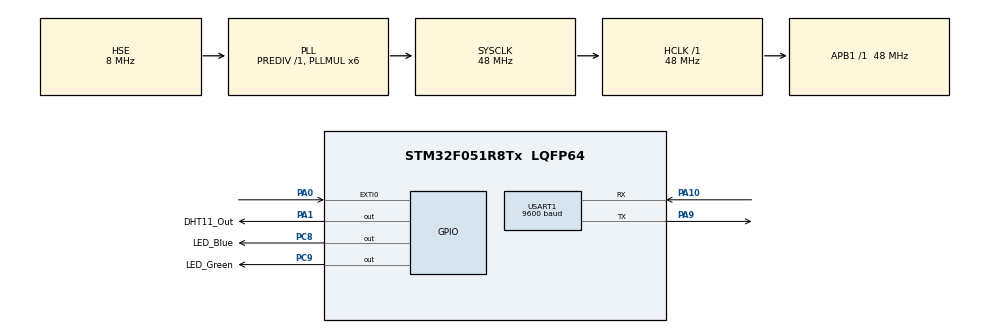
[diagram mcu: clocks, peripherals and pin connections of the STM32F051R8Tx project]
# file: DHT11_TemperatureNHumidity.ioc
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Dma.Request0=USART1_TX
Dma.USART1_TX.0.Direction=DMA_MEMORY_TO_PERIPH
Dma.USART1_TX.0.Instance=DMA1_Channel2
Dma.USART1_TX.0.MemDataAlignment=DMA_MDATAALIGN_BYTE
Dma.USART1_TX.0.MemInc=DMA_MINC_ENABLE
Dma.USART1_TX.0.Mode=DMA_NORMAL
Dma.USART1_TX.0.PeriphDataAlignment=DMA_PDATAALIGN_BYTE
Dma.USART1_TX.0.PeriphInc=DMA_PINC_DISABLE
Dma.USART1_TX.0.Priority=DMA_PRIORITY_LOW
Mcu.Family=STM32F0
Mcu.Name=STM32F051R8Tx
Mcu.Package=LQFP64
NVIC.DMA1_Channel2_3_IRQn=true\:0\:0\:false\:false\:true\:false\:true\:true
NVIC.EXTI0_1_IRQn=true\:0\:0\:false\:false\:true\:true\:true\:true
NVIC.TIM6_DAC_IRQn=true\:0\:0\:false\:false\:true\:true\:true\:true
NVIC.USART1_IRQn=true\:0\:0\:false\:false\:true\:true\:true\:true
PA0.Signal=GPXTI0
PA1.GPIO_Label=DHT11_Out
PA1.Signal=GPIO_Output
PA10.Mode=Asynchronous
PA10.Signal=USART1_RX
PA13.GPIO_Label=SWDIO
PA13.Mode=Serial_Wire
PA13.Signal=SYS_SWDIO
PA14.GPIO_Label=SWCLK
PA14.Mode=Serial_Wire
PA14.Signal=SYS_SWCLK
PA9.Mode=Asynchronous
PA9.Signal=USART1_TX
PC8.GPIO_Label=LED_Blue
PC8.Signal=GPIO_Output
PC9.GPIO_Label=LED_Green
PC9.Signal=GPIO_Output
PF0-OSC_IN.Mode=HSE-External-Oscillator
PF0-OSC_IN.Signal=RCC_OSC_IN
PF1-OSC_OUT.Mode=HSE-External-Oscillator
PF1-OSC_OUT.Signal=RCC_OSC_OUT
ProjectManager.HeapSize=0x200
ProjectManager.StackSize=0x400
ProjectManager.TargetToolchain=STM32CubeIDE
RCC.AHBFreq_Value=48000000
RCC.APB1Freq_Value=48000000
RCC.APB1TimFreq_Value=48000000
RCC.HCLKFreq_Value=48000000
RCC.PLLMUL=RCC_PLL_MUL6
RCC.PLLSourceVirtual=RCC_PLLSOURCE_HSE
RCC.SYSCLKFreq_VALUE=48000000
RCC.SYSCLKSource=RCC_SYSCLKSOURCE_PLLCLK
TIM14.Period=0xFFFF-1
TIM14.Prescaler=48-1
TIM6.Period=1000-1
TIM6.Prescaler=48000-1
USART1.BaudRate=9600
USART1.VirtualMode-Asynchronous=VM_ASYNC
VP_TIM14_VS_ClockSourceINT.Mode=Enable_Timer
VP_TIM6_VS_ClockSourceINT.Mode=Enable_Timer
board=STM32F0DISCOVERY

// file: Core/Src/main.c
/* USER CODE BEGIN Header */
/**
  ******************************************************************************
  * @file           : main.c
  * @brief          : Main program body
  ******************************************************************************
  * @attention
  *
  * Copyright (c) 2024 STMicroelectronics.
  * All rights reserved.
  *
  * This software is licensed under terms that can be found in the LICENSE file
  * in the root directory of this software component.
  * If no LICENSE file comes with this software, it is provided AS-IS.
  *
  ******************************************************************************
  */
/* USER CODE END Header */
#include "main.h"

/* USER CODE BEGIN Includes */
#include<string.h>
#include<stdio.h>
/* USER CODE END Includes */

TIM_HandleTypeDef htim6;
TIM_HandleTypeDef htim14;

UART_HandleTypeDef huart1;
DMA_HandleTypeDef hdma_usart1_tx;

/* USER CODE BEGIN PV */
uint8_t counter_periodic = 0;
char uart_tx_buffer[100];
/* USER CODE END PV */

void SystemClock_Config(void);
static void MX_GPIO_Init(void);
static void MX_DMA_Init(void);
static void MX_TIM6_Init(void);
static void MX_USART1_UART_Init(void);
static void MX_TIM14_Init(void);

int main(void)
{

  /* MCU Configuration--------------------------------------------------------*/

  /* Reset of all peripherals, Initializes the Flash interface and the Systick. */
  HAL_Init();

  /* Configure the system clock */
  SystemClock_Config();

  /* Initialize all configured peripherals */
  MX_GPIO_Init();
  MX_DMA_Init();
  MX_TIM6_Init();
  MX_USART1_UART_Init();
  MX_TIM14_Init();
  /* USER CODE BEGIN 2 */
  HAL_TIM_Base_Start_IT(&htim6);
  /* USER CODE END 2 */

  /* Infinite loop */
  /* USER CODE BEGIN WHILE */
  while (1)
  {
	  __WFI();
    /* USER CODE END WHILE */

  }
}

void SystemClock_Config(void)
{
  RCC_OscInitTypeDef RCC_OscInitStruct = {0};
  RCC_ClkInitTypeDef RCC_ClkInitStruct = {0};
  RCC_PeriphCLKInitTypeDef PeriphClkInit = {0};

  /** Initializes the RCC Oscillators according to the specified parameters
  * in the RCC_OscInitTypeDef structure.
  */
  RCC_OscInitStruct.OscillatorType = RCC_OSCILLATORTYPE_HSE;
  RCC_OscInitStruct.HSEState = RCC_HSE_ON;
  RCC_OscInitStruct.PLL.PLLState = RCC_PLL_ON;
  RCC_OscInitStruct.PLL.PLLSource = RCC_PLLSOURCE_HSE;
  RCC_OscInitStruct.PLL.PLLMUL = RCC_PLL_MUL6;
  RCC_OscInitStruct.PLL.PREDIV = RCC_PREDIV_DIV1;
  if (HAL_RCC_OscConfig(&RCC_OscInitStruct) != HAL_OK)
  {
    Error_Handler();
  }

  /** Initializes the CPU, AHB and APB buses clocks
  */
  RCC_ClkInitStruct.ClockType = RCC_CLOCKTYPE_HCLK|RCC_CLOCKTYPE_SYSCLK
                              |RCC_CLOCKTYPE_PCLK1;
  RCC_ClkInitStruct.SYSCLKSource = RCC_SYSCLKSOURCE_PLLCLK;
  RCC_ClkInitStruct.AHBCLKDivider = RCC_SYSCLK_DIV1;
  RCC_ClkInitStruct.APB1CLKDivider = RCC_HCLK_DIV1;

  if (HAL_RCC_ClockConfig(&RCC_ClkInitStruct, FLASH_LATENCY_1) != HAL_OK)
  {
    Error_Handler();
  }
  PeriphClkInit.PeriphClockSelection = RCC_PERIPHCLK_USART1;
  PeriphClkInit.Usart1ClockSelection = RCC_USART1CLKSOURCE_PCLK1;
  if (HAL_RCCEx_PeriphCLKConfig(&PeriphClkInit) != HAL_OK)
  {
    Error_Handler();
  }
}

static void MX_TIM6_Init(void)
{

  TIM_MasterConfigTypeDef sMasterConfig = {0};

  htim6.Instance = TIM6;
  htim6.Init.Prescaler = 48000-1;
  htim6.Init.CounterMode = TIM_COUNTERMODE_UP;
  htim6.Init.Period = 1000-1;
  htim6.Init.AutoReloadPreload = TIM_AUTORELOAD_PRELOAD_DISABLE;
  if (HAL_TIM_Base_Init(&htim6) != HAL_OK)
  {
    Error_Handler();
  }
  sMasterConfig.MasterOutputTrigger = TIM_TRGO_RESET;
  sMasterConfig.MasterSlaveMode = TIM_MASTERSLAVEMODE_DISABLE;
  if (HAL_TIMEx_MasterConfigSynchronization(&htim6, &sMasterConfig) != HAL_OK)
  {
    Error_Handler();
  }

}

static void MX_TIM14_Init(void)
{

  htim14.Instance = TIM14;
  htim14.Init.Prescaler = 48-1;
  htim14.Init.CounterMode = TIM_COUNTERMODE_UP;
  htim14.Init.Period = 0xFFFF-1;
  htim14.Init.ClockDivision = TIM_CLOCKDIVISION_DIV1;
  htim14.Init.AutoReloadPreload = TIM_AUTORELOAD_PRELOAD_DISABLE;
  if (HAL_TIM_Base_Init(&htim14) != HAL_OK)
  {
    Error_Handler();
  }

}

static void MX_USART1_UART_Init(void)
{

  huart1.Instance = USART1;
  huart1.Init.BaudRate = 9600;
  huart1.Init.WordLength = UART_WORDLENGTH_8B;
  huart1.Init.StopBits = UART_STOPBITS_1;
  huart1.Init.Parity = UART_PARITY_NONE;
  huart1.Init.Mode = UART_MODE_TX_RX;
  huart1.Init.HwFlowCtl = UART_HWCONTROL_NONE;
  huart1.Init.OverSampling = UART_OVERSAMPLING_16;
  huart1.Init.OneBitSampling = UART_ONE_BIT_SAMPLE_DISABLE;
  huart1.AdvancedInit.AdvFeatureInit = UART_ADVFEATURE_NO_INIT;
  if (HAL_UART_Init(&huart1) != HAL_OK)
  {
    Error_Handler();
  }

}

static void MX_DMA_Init(void)
{

  /* DMA controller clock enable */
  __HAL_RCC_DMA1_CLK_ENABLE();

  /* DMA interrupt init */
  /* DMA1_Channel2_3_IRQn interrupt configuration */
  HAL_NVIC_SetPriority(DMA1_Channel2_3_IRQn, 0, 0);
  HAL_NVIC_EnableIRQ(DMA1_Channel2_3_IRQn);

}

static void MX_GPIO_Init(void)
{
  GPIO_InitTypeDef GPIO_InitStruct = {0};

  /* GPIO Ports Clock Enable */
  __HAL_RCC_GPIOF_CLK_ENABLE();
  __HAL_RCC_GPIOA_CLK_ENABLE();
  __HAL_RCC_GPIOC_CLK_ENABLE();

  /*Configure GPIO pin Output Level */
  HAL_GPIO_WritePin(DHT11_Out_GPIO_Port, DHT11_Out_Pin, GPIO_PIN_RESET);

  /*Configure GPIO pin Output Level */
  HAL_GPIO_WritePin(GPIOC, LED_Blue_Pin|LED_Green_Pin, GPIO_PIN_RESET);

  /*Configure GPIO pin : PA0 */
  GPIO_InitStruct.Pin = GPIO_PIN_0;
  GPIO_InitStruct.Mode = GPIO_MODE_IT_RISING;
  GPIO_InitStruct.Pull = GPIO_NOPULL;
  HAL_GPIO_Init(GPIOA, &GPIO_InitStruct);

  /*Configure GPIO pin : DHT11_Out_Pin */
  GPIO_InitStruct.Pin = DHT11_Out_Pin;
  GPIO_InitStruct.Mode = GPIO_MODE_OUTPUT_PP;
  GPIO_InitStruct.Pull = GPIO_NOPULL;
  GPIO_InitStruct.Speed = GPIO_SPEED_FREQ_LOW;
  HAL_GPIO_Init(DHT11_Out_GPIO_Port, &GPIO_InitStruct);

  /*Configure GPIO pins : LED_Blue_Pin LED_Green_Pin */
  GPIO_InitStruct.Pin = LED_Blue_Pin|LED_Green_Pin;
  GPIO_InitStruct.Mode = GPIO_MODE_OUTPUT_PP;
  GPIO_InitStruct.Pull = GPIO_NOPULL;
  GPIO_InitStruct.Speed = GPIO_SPEED_FREQ_LOW;
  HAL_GPIO_Init(GPIOC, &GPIO_InitStruct);

  /* EXTI interrupt init*/
  HAL_NVIC_SetPriority(EXTI0_1_IRQn, 0, 0);
  HAL_NVIC_EnableIRQ(EXTI0_1_IRQn);

}

/* USER CODE BEGIN 4 */
void HAL_TIM_PeriodElapsedCallback(TIM_HandleTypeDef *htim)
{
  /* Prevent unused argument(s) compilation warning */
  UNUSED(htim);

  if (htim->Instance == TIM6){
	DHT11_Start();
	uint8_t response = DHT11_Response();
	uint8_t Hum_byte_int = DHT11_GetData();
	uint8_t Hum_byte_dec = DHT11_GetData();
	uint8_t Temp_byte_int = DHT11_GetData();
	uint8_t Temp_byte_dec = DHT11_GetData();
	uint8_t checksum = DHT11_GetData();

	// Check if the response is OK (1) and checksum is correct.
	if (response==1 && checksum==Hum_byte_int+Hum_byte_dec+Temp_byte_int+Temp_byte_dec)
	{
		HAL_GPIO_TogglePin(GPIOC, LED_Blue_Pin);	// Toggle Blue LED

		sprintf(
				uart_tx_buffer, "->> [Counter: %d] Humidity: %d.%d, Temperature: %d.%d\r\n",
				counter_periodic, Hum_byte_int, Hum_byte_dec, Temp_byte_int, Temp_byte_dec
				);
		HAL_UART_Transmit_DMA(&huart1, uart_tx_buffer, sizeof(uart_tx_buffer));
	}
	else
	{
		uint8_t msg_dht11_read_error[30] = "Error getting DHT11 Data.\r\n";
		HAL_UART_Transmit_DMA(&huart1, msg_dht11_read_error, sizeof(msg_dht11_read_error));
	}

	counter_periodic++;
	if (counter_periodic>255)
	{
		counter_periodic = 0;
	}
  }
}

/*
 * Fun: Delay in us (micro-second)
 * Reset the Counter
 * Wait for the Counter to reach the input value (us)
 * Each Count take 1 us.
 */
void Delay_Us(uint16_t us)
{
	TIM14->CNT = 0x0000; // set timer count to 0 (zero)
	//__HAL_TIM_SET_COUNTER(&htim6, 0); // Reset the counter
	HAL_TIM_Base_Start(&htim14);	// start the timer
//	while (TIM6->CNT < us);
	while (__HAL_TIM_GET_COUNTER(&htim14) < us); // Wait until the counter reaches the delay value
	HAL_TIM_Base_Stop(&htim14);	// stop the timer
}

void Delay_Ms(uint16_t sec)
{
	for (uint16_t i=0; i<sec; i++)
	{
		Delay_Us(1000);	// delay of 1 ms
	}
}

void Delay_S(uint16_t sec)
{
	for (uint16_t i=0; i<sec; i++)
	{
		Delay_Ms(1000);	// delay of 1 sec
	}
}
/* USER CODE END 4 */

void Error_Handler(void)
{
  __disable_irq();
  while (1)
  {
  }
}
